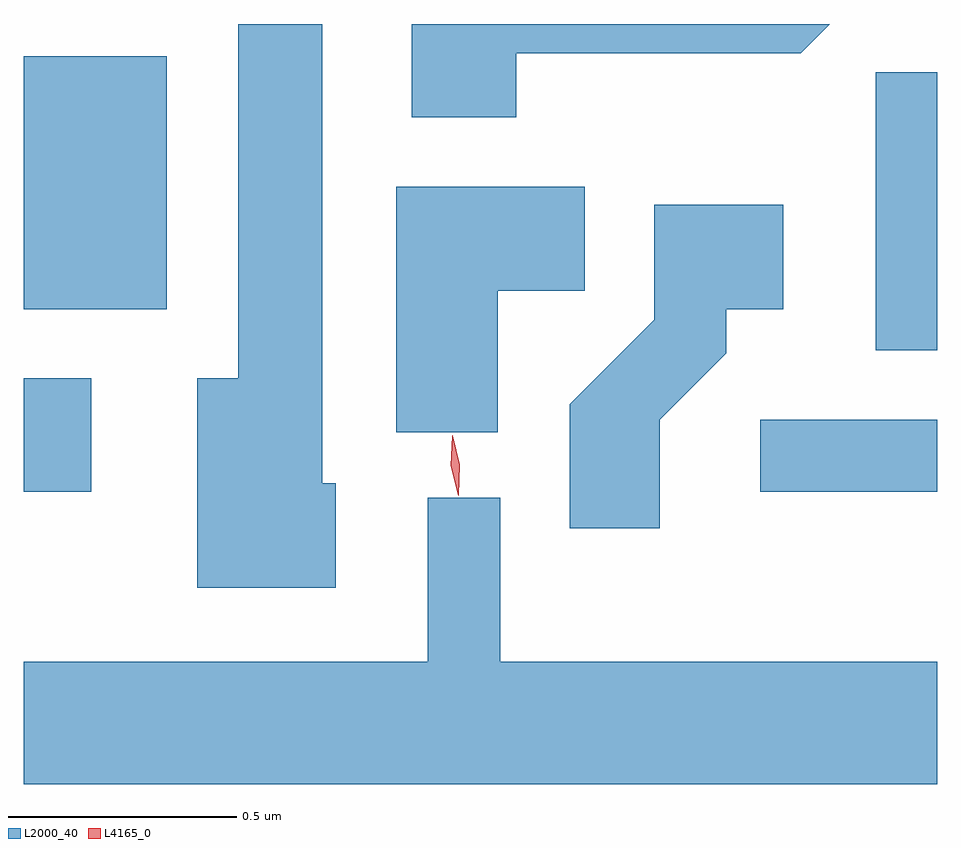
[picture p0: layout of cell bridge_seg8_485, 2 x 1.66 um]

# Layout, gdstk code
import gdstk
lib = gdstk.Library(unit=1e-6, precision=1e-09)
def R(c, l, rs):  # rectangles x0, y0, x1, y1
    for r in rs: c.add(gdstk.rectangle(r[:2], r[2:], *l))
def P(c, l, *ps):  # polygons
    for p in ps: c.add(gdstk.Polygon(p, *l))
L2000_40 = (2000, 40)
L4165_0 = (4165, 0)

bridge_seg8_485 = lib.new_cell('bridge_seg8_485')
R(bridge_seg8_485, L2000_40, [(442.391,1903.656,442.539,1903.904), (444.003,1903.656,444.391,1903.814), (444.256,1903.966,444.391,1904.574), (442.391,1904.056,442.704,1904.609)])
P(bridge_seg8_485, L2000_40, [(443.469,1904.616),(444.092,1904.616),(444.156,1904.68),(443.241,1904.68),(443.241,1904.476),(443.469,1904.476)],
  [(443.074,1903.674),(443.044,1903.674),(443.044,1904.68),(442.861,1904.68),(442.861,1903.904),(442.771,1903.904),(442.771,1903.446),(443.074,1903.446)],
  [(443.429,1904.096),(443.619,1904.096),(443.619,1904.324),(443.206,1904.324),(443.206,1903.786),(443.429,1903.786)],
  [(443.784,1903.814),(443.929,1903.959),(443.929,1904.056),(444.054,1904.056),(444.054,1904.284),(443.771,1904.284),(443.771,1904.032),(443.586,1903.847),(443.586,1903.576),(443.784,1903.576)],
  [(444.391,1903.284),(443.434,1903.284),(443.434,1903.643),(443.276,1903.643),(443.276,1903.284),(442.391,1903.284),(442.391,1903.016),(444.391,1903.016)])
P(bridge_seg8_485, L4165_0, [(443.343,1903.647),(443.342,1903.648),(443.326,1903.713),(443.329,1903.779),(443.33,1903.78),(443.33,1903.779),(443.346,1903.715),(443.343,1903.648)])

lib.write_gds('bridge_seg8_485.gds')
